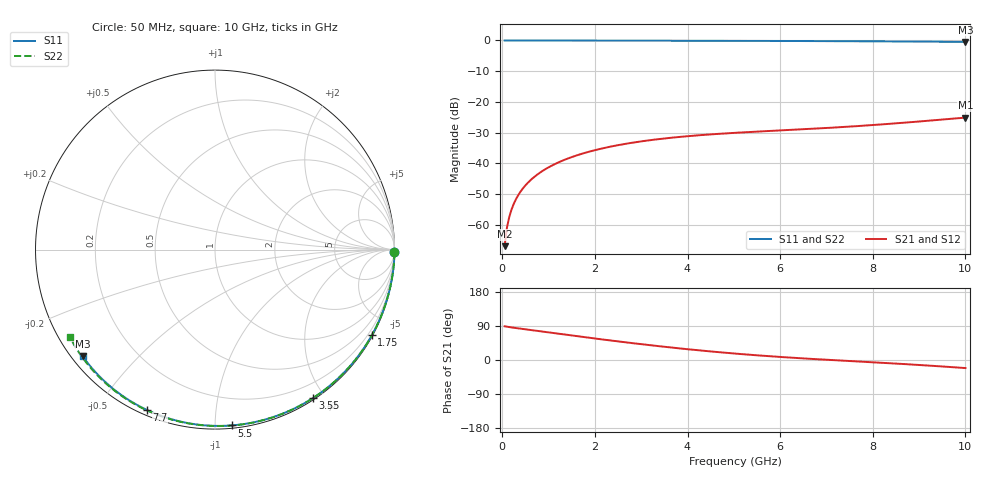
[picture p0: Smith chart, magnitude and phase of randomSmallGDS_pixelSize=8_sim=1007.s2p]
! freq	dB(S11)	phase(S11)	dB(S12)	phase(S12)
!  dB(S21)	phase(S21)	dB(S22)	phase(S22)
!S-par simulation data
#  GHz  S  DB  R 50
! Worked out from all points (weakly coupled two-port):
!   200 points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, 50 MHz to 10 GHz, reference 50 ohm
!   highest |S21| = -25.13 dB at 10 GHz (marker M1); lowest = -67.0 dB at 50 MHz (marker M2)
!   lowest |S11| = -0.5 dB at 10 GHz (marker M3), VSWR 36.61, Z = 1.54 - j17.6 ohm
!   |S11| at or under -10 dB: nowhere
!   |S22| runs from -0.5 to 0.0 dB; largest |S21 - S12| = 0
!   S11 on the Smith chart (normalised r, x): 50 MHz: open; 1.75 GHz: 0.03, -3.92; 3.55 GHz: 0.02, -1.86; 5.5 GHz: 0.02, -1.10; 7.7 GHz: 0.02, -0.66; 10 GHz: 0.03, -0.35
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0.05  -0.00 -0.8  -67.02 88.9  -67.02 88.9  -0.00 -0.9
0.1  -0.00 -1.7  -61.02 87.9  -61.02 87.9  -0.00 -1.8
0.15  -0.00 -2.5  -57.52 86.9  -57.52 86.9  -0.00 -2.6
0.2  -0.00 -3.3  -55.05 86.0  -55.05 86.0  -0.00 -3.5
0.25  -0.00 -4.2  -53.13 85.1  -53.13 85.1  -0.00 -4.4
0.35  -0.00 -5.8  -50.25 83.4  -50.25 83.4  -0.00 -6.2
0.5  -0.01 -8.3  -47.21 81.0  -47.21 81.0  -0.01 -8.8
0.7  -0.01 -11.6  -44.34 77.7  -44.34 77.7  -0.01 -12.3
1  -0.02 -16.5  -41.33 72.8  -41.33 72.8  -0.02 -17.5
1.35  -0.03 -22.2  -38.84 67.1  -38.84 67.1  -0.03 -23.5
1.75  -0.04 -28.6  -36.77 60.7  -36.77 60.7  -0.04 -30.3
2.5  -0.05 -40.5  -34.11 49.1  -34.11 49.1  -0.06 -42.8
3.4  -0.07 -54.3  -32.10 36.2  -32.10 36.2  -0.08 -57.4
3.55  -0.08 -56.5  -31.85 34.2  -31.85 34.2  -0.08 -59.7
4.3  -0.10 -67.6  -30.82 24.9  -30.82 24.9  -0.10 -71.3
5.05  -0.12 -78.2  -30.07 16.7  -30.07 16.7  -0.13 -82.5
5.5  -0.14 -84.4  -29.70 12.4  -29.70 12.4  -0.15 -89.0
6.7  -0.20 -100.4  -28.77 2.7  -28.77 2.7  -0.21 -105.8
7.7  -0.26 -113.1  -27.87 -4.0  -27.87 -4.0  -0.27 -119.1
8.35  -0.31 -121.1  -27.17 -8.4  -27.17 -8.4  -0.33 -127.7
9.2  -0.39 -131.5  -26.15 -14.7  -26.15 -14.7  -0.41 -138.7
10  -0.47 -141.2  -25.13 -21.3  -25.13 -21.3  -0.50 -149.1
